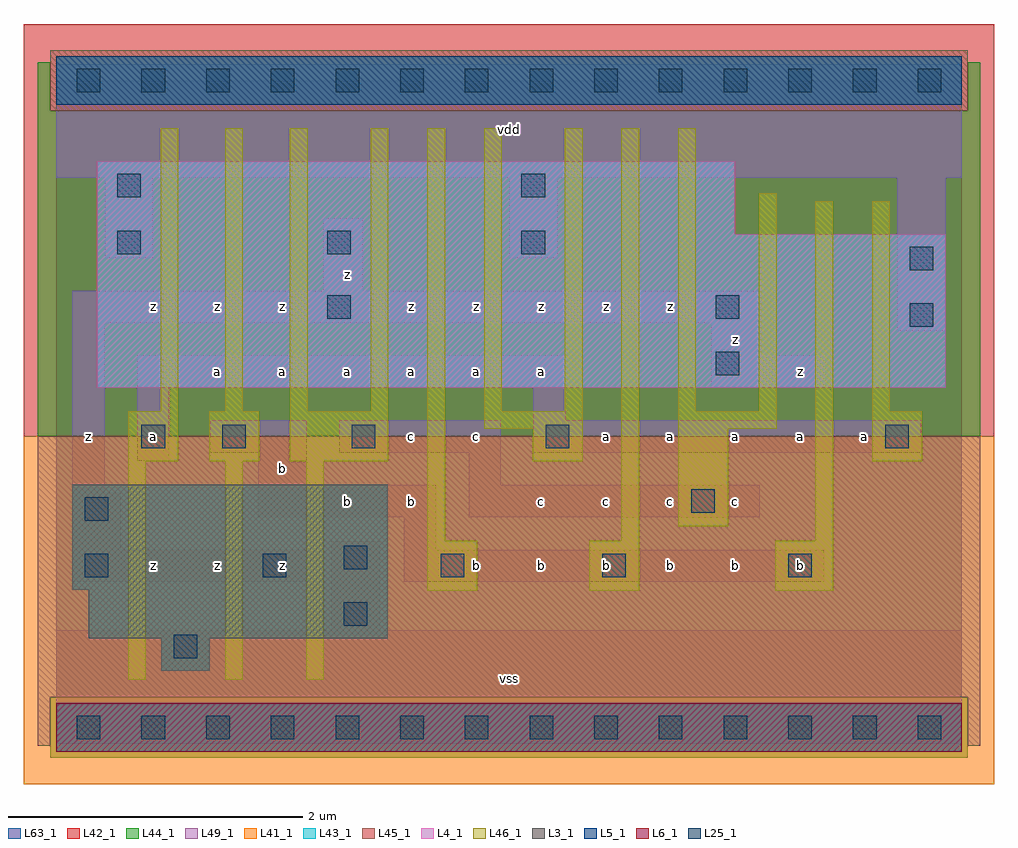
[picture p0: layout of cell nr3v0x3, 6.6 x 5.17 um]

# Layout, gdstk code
import gdstk
lib = gdstk.Library(unit=1e-6, precision=1e-09)
def R(c, l, rs):  # rectangles x0, y0, x1, y1
    for r in rs: c.add(gdstk.rectangle(r[:2], r[2:], *l))
def A(c, l, x, y, w, h, nx, ny, dx, dy):  # array of equal rectangles
    R(c, l, [(x+i*dx, y+j*dy, x+i*dx+w, y+j*dy+h) for i in range(nx) for j in range(ny)])
L3_1 = (3, 1)
L4_1 = (4, 1)
L5_1 = (5, 1)
L6_1 = (6, 1)
L25_1 = (25, 1)
L41_1 = (41, 1)
L42_1 = (42, 1)
L43_1 = (43, 1)
L44_1 = (44, 1)
L45_1 = (45, 1)
L46_1 = (46, 1)
L49_1 = (49, 1)
L63_1 = (63, 1)

nr3v0x3 = lib.new_cell('nr3v0x3')
R(nr3v0x3, L3_1, [(0.715,0.385,1.045,0.605), (0.22,0.605,2.255,0.935), (0.11,0.935,2.255,1.65)])
R(nr3v0x3, L4_1, [(0.275,2.31,6.05,3.355), (0.275,3.355,4.62,3.85)])
R(nr3v0x3, L5_1, [(0,4.235,6.16,4.565)])
R(nr3v0x3, L6_1, [(0,-0.165,6.16,0.165)])
A(nr3v0x3, L25_1, 0.14, -0.08, 0.16, 0.16, 14, 2, 0.44, 4.4)
A(nr3v0x3, L25_1, 0.195, 1.02, 0.16, 0.16, 3, 1, 1.21, 0)
R(nr3v0x3, L25_1, [(0.8,0.47,0.96,0.63), (1.955,0.69,2.115,0.85), (3.715,1.02,3.875,1.18), (4.98,1.02,5.14,1.18), (1.955,1.075,2.115,1.235), (0.195,1.405,0.355,1.565), (4.32,1.46,4.48,1.62), (0.58,1.9,0.74,2.06), (1.13,1.9,1.29,2.06), (2.01,1.9,2.17,2.06), (3.33,1.9,3.49,2.06), (5.64,1.9,5.8,2.06), (4.485,2.395,4.645,2.555), (5.805,2.725,5.965,2.885), (1.845,2.78,2.005,2.94), (4.485,2.78,4.645,2.94), (5.805,3.11,5.965,3.27), (0.415,3.22,0.575,3.38), (1.845,3.22,2.005,3.38), (3.165,3.22,3.325,3.38), (0.415,3.605,0.575,3.765), (3.165,3.605,3.325,3.765)])
R(nr3v0x3, L41_1, [(-0.22,-0.385,6.38,1.98)])
R(nr3v0x3, L42_1, [(-0.22,1.98,6.38,4.785)])
R(nr3v0x3, L43_1, [(0,-0.165,6.16,0.165), (0.715,0.385,1.045,0.605), (0.22,0.605,2.255,0.935), (0.11,0.935,2.255,1.65), (0.275,2.31,6.05,3.355), (0.275,3.355,4.62,3.85), (0,4.235,6.16,4.565)])
R(nr3v0x3, L44_1, [(-0.04,-0.205,6.2,0.205), (-0.125,1.98,6.285,4.195), (-0.125,4.195,-0.04,4.525), (6.2,4.195,6.285,4.525)])
R(nr3v0x3, L45_1, [(-0.125,-0.125,-0.04,0.205), (6.2,-0.125,6.285,0.205), (-0.125,0.205,6.285,1.98), (-0.04,4.195,6.2,4.605)])
A(nr3v0x3, L46_1, 0.71, 2.15, 0.12, 1.925, 3, 1, 0.44, 0)
R(nr3v0x3, L46_1, [(0.49,0.325,0.61,1.81), (1.15,0.325,1.27,1.81), (1.7,0.325,1.82,1.81), (2.525,0.93,2.865,1.27), (3.625,0.93,3.965,1.27), (4.89,0.93,5.285,1.27), (2.525,1.27,2.645,4.075), (3.845,1.27,3.965,4.075), (5.165,1.27,5.285,3.58), (4.23,1.37,4.57,2.03), (0.49,1.81,0.83,2.15), (1.04,1.81,1.38,2.15), (1.59,1.81,2.26,2.15), (3.24,1.81,3.58,2.03), (5.55,1.81,5.89,2.15), (2.91,2.03,3.58,2.15), (4.23,2.03,4.9,2.15), (2.14,2.15,2.26,4.075), (2.91,2.15,3.03,4.075), (3.46,2.15,3.58,4.075), (4.23,2.15,4.35,4.075), (4.78,2.15,4.9,3.635), (5.55,2.15,5.67,3.58)])
R(nr3v0x3, L49_1, [(0,-0.11,6.16,0.66), (1.87,0.66,2.2,1.265), (0.11,0.99,1.705,1.21), (2.365,0.99,5.225,1.21), (0.11,1.21,0.44,1.595), (2.365,1.21,2.585,1.43), (1.375,1.43,2.585,1.65), (2.805,1.43,4.785,1.65), (0.11,1.595,0.33,2.75), (1.375,1.65,1.705,1.87), (2.805,1.65,3.025,1.87), (0.55,1.815,0.77,2.31), (1.045,1.87,1.705,2.09), (1.925,1.87,3.025,2.09), (3.245,1.87,5.885,2.09), (3.245,2.09,3.465,2.31), (0.55,2.31,3.465,2.53), (4.455,2.31,5.225,2.53), (4.455,2.53,4.785,2.75), (5.72,2.695,6.05,3.74), (0.11,2.75,4.785,2.97), (1.815,2.97,2.09,3.465), (0.33,3.19,0.66,3.74), (3.08,3.19,3.41,3.74), (0,3.74,6.16,4.51)])
R(nr3v0x3, L63_1, [(0,0,6.16,4.4)])
nr3v0x3.add(gdstk.Label('z', (0.66,1.1), layer=49, texttype=1))
nr3v0x3.add(gdstk.Label('a', (0.66,1.98), layer=49, texttype=1))
nr3v0x3.add(gdstk.Label('z', (0.22,1.98), layer=49, texttype=1))
nr3v0x3.add(gdstk.Label('z', (0.66,2.86), layer=49, texttype=1))
nr3v0x3.add(gdstk.Label('z', (1.1,1.1), layer=49, texttype=1))
nr3v0x3.add(gdstk.Label('z', (1.54,1.1), layer=49, texttype=1))
nr3v0x3.add(gdstk.Label('b', (1.54,1.76), layer=49, texttype=1))
nr3v0x3.add(gdstk.Label('a', (1.54,2.42), layer=49, texttype=1))
nr3v0x3.add(gdstk.Label('a', (1.1,2.42), layer=49, texttype=1))
nr3v0x3.add(gdstk.Label('z', (1.1,2.86), layer=49, texttype=1))
nr3v0x3.add(gdstk.Label('z', (1.54,2.86), layer=49, texttype=1))
nr3v0x3.add(gdstk.Label('b', (2.86,1.1), layer=49, texttype=1))
nr3v0x3.add(gdstk.Label('b', (2.42,1.54), layer=49, texttype=1))
nr3v0x3.add(gdstk.Label('b', (1.98,1.54), layer=49, texttype=1))
nr3v0x3.add(gdstk.Label('c', (2.86,1.98), layer=49, texttype=1))
nr3v0x3.add(gdstk.Label('c', (2.42,1.98), layer=49, texttype=1))
nr3v0x3.add(gdstk.Label('a', (2.42,2.42), layer=49, texttype=1))
nr3v0x3.add(gdstk.Label('a', (2.86,2.42), layer=49, texttype=1))
nr3v0x3.add(gdstk.Label('a', (1.98,2.42), layer=49, texttype=1))
nr3v0x3.add(gdstk.Label('z', (2.42,2.86), layer=49, texttype=1))
nr3v0x3.add(gdstk.Label('z', (2.86,2.86), layer=49, texttype=1))
nr3v0x3.add(gdstk.Label('z', (1.98,3.08), layer=49, texttype=1))
nr3v0x3.add(gdstk.Label('vss', (3.08,0.33), layer=49, texttype=1))
nr3v0x3.add(gdstk.Label('b', (3.74,1.1), layer=49, texttype=1))
nr3v0x3.add(gdstk.Label('b', (3.3,1.1), layer=49, texttype=1))
nr3v0x3.add(gdstk.Label('c', (3.3,1.54), layer=49, texttype=1))
nr3v0x3.add(gdstk.Label('c', (3.74,1.54), layer=49, texttype=1))
nr3v0x3.add(gdstk.Label('a', (3.74,1.98), layer=49, texttype=1))
nr3v0x3.add(gdstk.Label('a', (3.3,2.42), layer=49, texttype=1))
nr3v0x3.add(gdstk.Label('z', (3.74,2.86), layer=49, texttype=1))
nr3v0x3.add(gdstk.Label('z', (3.3,2.86), layer=49, texttype=1))
nr3v0x3.add(gdstk.Label('vdd', (3.08,4.07), layer=49, texttype=1))
nr3v0x3.add(gdstk.Label('b', (4.18,1.1), layer=49, texttype=1))
nr3v0x3.add(gdstk.Label('b', (5.06,1.1), layer=49, texttype=1))
nr3v0x3.add(gdstk.Label('b', (4.62,1.1), layer=49, texttype=1))
nr3v0x3.add(gdstk.Label('c', (4.62,1.54), layer=49, texttype=1))
nr3v0x3.add(gdstk.Label('c', (4.18,1.54), layer=49, texttype=1))
nr3v0x3.add(gdstk.Label('a', (4.18,1.98), layer=49, texttype=1))
nr3v0x3.add(gdstk.Label('a', (5.06,1.98), layer=49, texttype=1))
nr3v0x3.add(gdstk.Label('a', (4.62,1.98), layer=49, texttype=1))
nr3v0x3.add(gdstk.Label('z', (5.06,2.42), layer=49, texttype=1))
nr3v0x3.add(gdstk.Label('z', (4.18,2.86), layer=49, texttype=1))
nr3v0x3.add(gdstk.Label('z', (4.62,2.64), layer=49, texttype=1))
nr3v0x3.add(gdstk.Label('a', (5.5,1.98), layer=49, texttype=1))

lib.write_gds('nr3v0x3.gds')
